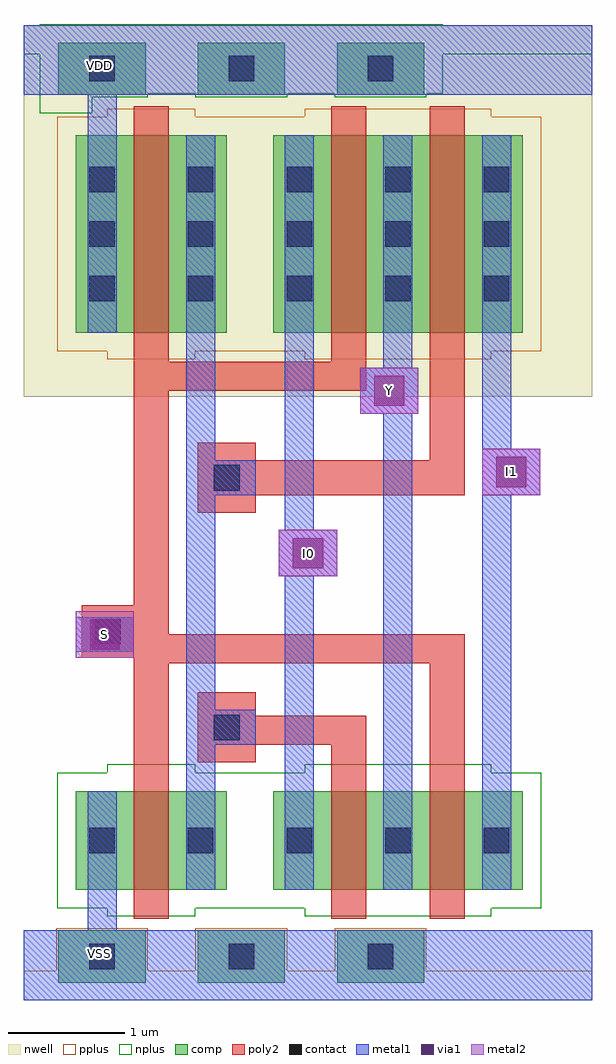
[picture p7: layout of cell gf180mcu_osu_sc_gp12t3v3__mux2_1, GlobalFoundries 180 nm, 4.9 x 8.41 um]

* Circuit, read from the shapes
.subckt gf180mcu_osu_sc_gp12t3v3__mux2_1 I0 I1 S VDD VSS Y
XM1 n1 S VSS VSS nfet_03v3 w=0.85u l=0.3u
XM2 Y n1 I0 VSS nfet_03v3 w=0.85u l=0.3u
XM3 I1 S Y VSS nfet_03v3 w=0.85u l=0.3u
XM4 n1 S VDD VDD pfet_03v3 w=1.7u l=0.3u
XM5 Y S I0 VDD pfet_03v3 w=1.7u l=0.3u
XM6 I1 n1 Y VDD pfet_03v3 w=1.7u l=0.3u
.ends

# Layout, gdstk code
import gdstk
lib = gdstk.Library(unit=1e-6, precision=1e-09)
def R(c, l, rs):  # rectangles x0, y0, x1, y1
    for r in rs: c.add(gdstk.rectangle(r[:2], r[2:], *l))
def A(c, l, x, y, w, h, nx, ny, dx, dy):  # array of equal rectangles
    R(c, l, [(x+i*dx, y+j*dy, x+i*dx+w, y+j*dy+h) for i in range(nx) for j in range(ny)])
nwell = (21, 0)
comp = (22, 0)
poly2 = (30, 0)
pplus = (31, 0)
nplus = (32, 0)
contact = (33, 0)
metal1 = (34, 0)
via1 = (35, 0)
metal2 = (36, 0)

gf180mcu_osu_sc_gp12t3v3 = lib.new_cell('gf180mcu_osu_sc_gp12t3v3__mux2_1')
R(gf180mcu_osu_sc_gp12t3v3, nwell, [(0,5.2,4.9,8.4)])
A(gf180mcu_osu_sc_gp12t3v3, comp, 0.3, 0.15, 0.75, 0.45, 3, 2, 1.2, 7.65)
R(gf180mcu_osu_sc_gp12t3v3, comp, [(0.45,0.95,1.75,1.8), (2.15,0.95,4.3,1.8), (0.45,5.75,1.75,7.45), (2.15,5.75,4.3,7.45)])
R(gf180mcu_osu_sc_gp12t3v3, poly2, [(0.95,0.7,1.25,2.9), (2.65,0.7,2.95,2.2), (3.5,0.7,3.8,2.9), (1.5,2.05,2,2.2), (1.5,2.2,2.95,2.45), (1.5,2.45,2,2.65), (0.95,2.9,3.8,2.95), (0.5,2.95,3.8,3.15), (0.5,3.15,1.25,3.4), (0.95,3.4,1.25,5.25), (1.5,4.2,2,4.35), (1.5,4.35,3.8,4.65), (1.5,4.65,2,4.8), (3.5,4.65,3.8,7.7), (0.95,5.25,2.95,5.5), (0.95,5.5,1.25,7.7), (2.65,5.5,2.95,7.7)])
A(gf180mcu_osu_sc_gp12t3v3, pplus, 0.28, 0.13, 0.79, 0.49, 3, 1, 1.2, 0)
R(gf180mcu_osu_sc_gp12t3v3, pplus, [(0,0,4.9,0.25), (0.72,5.52,1.48,5.59), (2.42,5.52,4.03,5.59), (0.29,5.59,4.46,7.61), (0.72,7.61,1.48,7.68), (2.42,7.61,4.03,7.68)])
R(gf180mcu_osu_sc_gp12t3v3, nplus, [(0.72,0.72,1.48,0.79), (2.42,0.72,4.03,0.79), (0.29,0.79,4.46,1.96), (0.72,1.96,1.48,2.03), (2.42,1.96,4.03,2.03), (0.14,7.64,0.59,7.78), (0.14,7.78,1.07,7.81), (1.48,7.78,2.27,7.81), (2.68,7.78,3.47,7.81), (0.14,7.81,3.61,8.15), (0,8.15,4.9,8.4), (0,8.15,4.9,8.4), (0.14,8.4,3.61,8.41)])
A(gf180mcu_osu_sc_gp12t3v3, contact, 0.565, 0.265, 0.22, 0.22, 3, 2, 1.2, 7.65)
A(gf180mcu_osu_sc_gp12t3v3, contact, 0.565, 1.265, 0.22, 0.22, 5, 2, 0.85, 4.755)
A(gf180mcu_osu_sc_gp12t3v3, contact, 0.565, 6.49, 0.22, 0.22, 5, 2, 0.85, 0.47)
R(gf180mcu_osu_sc_gp12t3v3, contact, [(1.64,2.24,1.86,2.46), (0.615,3.065,0.835,3.285), (1.64,4.39,1.86,4.61)])
R(gf180mcu_osu_sc_gp12t3v3, metal1, [(0,0,4.9,0.6), (0.55,0.6,0.8,1.8), (1.4,0.95,1.65,2.2), (2.25,0.95,2.5,3.65), (3.1,0.95,3.35,5.05), (3.95,0.95,4.2,4.35), (1.4,2.2,2,2.5), (1.4,2.5,1.65,4.35), (0.45,3,0.95,3.3), (2.2,3.65,2.7,4.05), (2.25,4.05,2.5,7.45), (1.4,4.35,2,4.65), (3.95,4.35,4.45,4.75), (1.4,4.65,1.65,7.45), (3.95,4.75,4.2,7.45), (2.9,5.05,3.4,5.45), (3.1,5.45,3.35,7.45), (0.55,5.75,0.8,7.8), (0,7.8,4.9,8.4)])
R(gf180mcu_osu_sc_gp12t3v3, via1, [(0.57,3.02,0.83,3.28), (2.32,3.72,2.58,3.98), (4.07,4.42,4.33,4.68), (3.02,5.12,3.28,5.38)])
R(gf180mcu_osu_sc_gp12t3v3, metal2, [(0.45,2.95,0.95,3.35), (2.2,3.65,2.7,4.05), (3.95,4.35,4.45,4.75), (2.9,5.05,3.4,5.45)])
gf180mcu_osu_sc_gp12t3v3.add(gdstk.Label('I0', (2.45,3.85), layer=36, texttype=10))
gf180mcu_osu_sc_gp12t3v3.add(gdstk.Label('I1', (4.2,4.55), layer=36, texttype=10))
gf180mcu_osu_sc_gp12t3v3.add(gdstk.Label('S', (0.7,3.15), layer=36, texttype=10))
gf180mcu_osu_sc_gp12t3v3.add(gdstk.Label('Y', (3.15,5.25), layer=36, texttype=10))
gf180mcu_osu_sc_gp12t3v3.add(gdstk.Label('VDD', (0.65,8.05), layer=34, texttype=10))
gf180mcu_osu_sc_gp12t3v3.add(gdstk.Label('VSS', (0.65,0.4), layer=34, texttype=10))

lib.write_gds('gf180mcu_osu_sc_gp12t3v3__mux2_1.gds')
